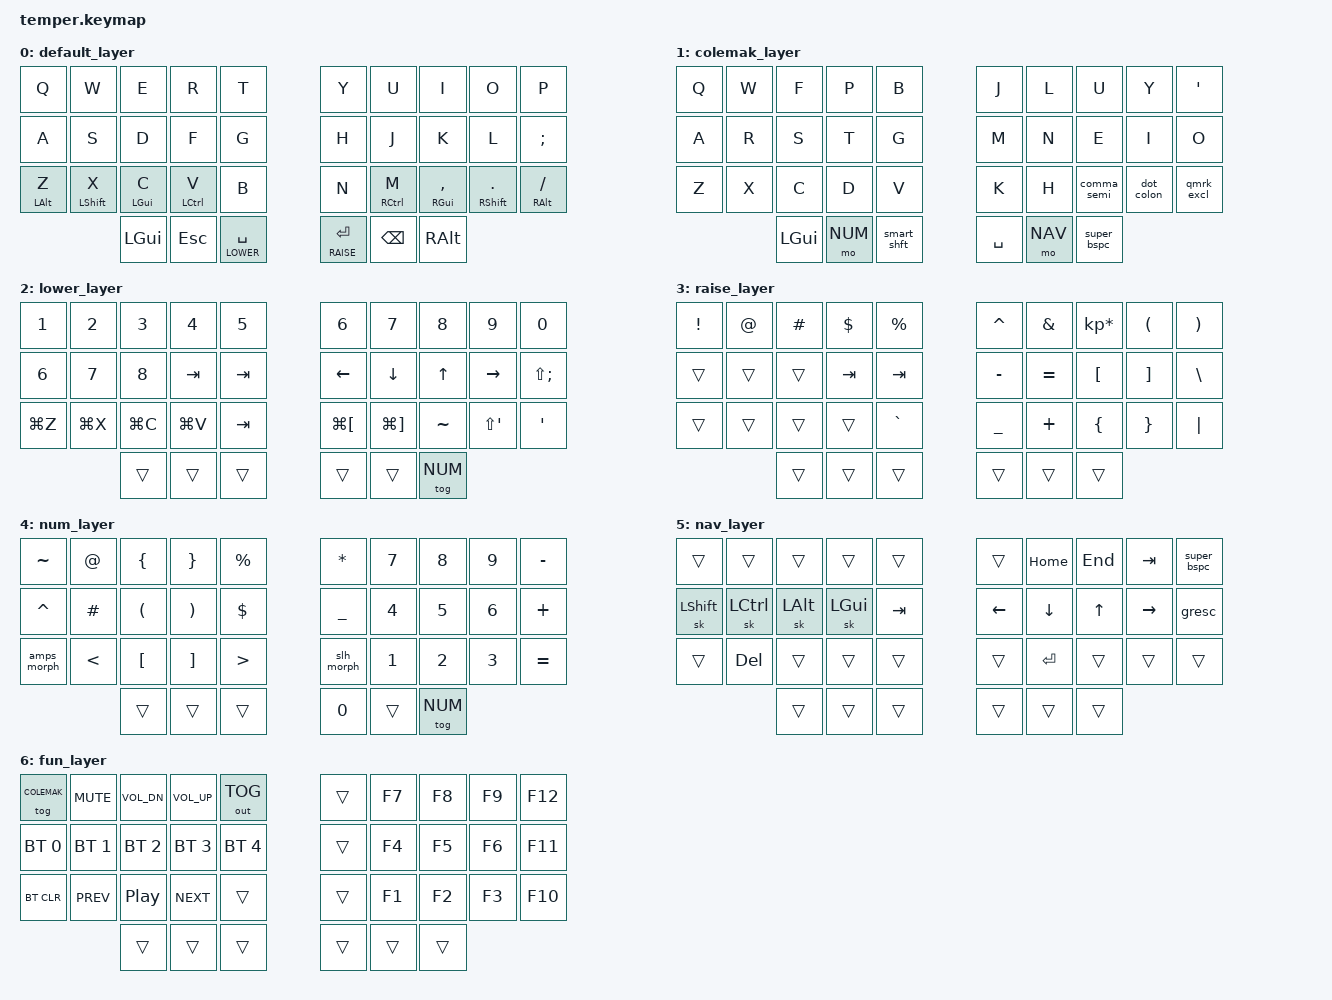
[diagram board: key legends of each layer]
/*
 * Copyright (c) 2020 The ZMK Contributors
 *
 * SPDX-License-Identifier: MIT
 */

#include <behaviors.dtsi>
#include <dt-bindings/zmk/keys.h>
#include <dt-bindings/zmk/bt.h>
#include <dt-bindings/zmk/outputs.h>

#define DEFAULT 0
#define COLEMAK 1
#define LOWER 2
#define RAISE 3
#define NUM 4
#define NAV 5
#define FUN 6

#define NUMS 3
#define ADJUST 4
#define LOCK 5

#define BACK C_AC_BACK
#define FWD C_AC_FORWARD
#define PAUSE PAUSE_BREAK
#define VOL_DN C_VOL_DN
#define VOL_UP C_VOL_UP

#define LC_SPC LC(SPACE)
#define ZM_IN LC(EQUAL)
#define ZM_OUT LC(MINUS)
#define ZM_RST LC(N0)

#define BT0 BT_SEL 0
#define BT1 BT_SEL 1
#define BT2 BT_SEL 2
#define BT3 BT_SEL 3
#define BT4 BT_SEL 4


#define HYP LS(LC(LA(LGUI)))
#define HYPER(key) LS(LC(LA(LG(key))))

// key positions
// --------------------------------------------------------------------------------
//  |  0  |  1  |  2  |  3  |  4  |     |  5  |  6  |  7  |  8  |  9  |
//  |  10 |  11 |  12 |  13 |  14 |     |  15 |  16 |  17 |  18 |  19 |
//  |  20 |  21 |  22 |  23 |  24 |     |  25 |  26 |  27 |  28 |  29 |
//              |  30 |  31 |  32 |     |  33 |  34 |  35 |

#define KEYS_L 0 1 2 3 4 10 11 12 13 14 20 21 22 23 24 // left-hand keys
#define KEYS_R 5 6 7 8 9 15 16 17 18 19 25 26 27 28 29 // right-hand keys
#define THUMBS 30 31 32 33 34 35                       // thumb keys

// &nice_view_spi {
//  cs-gpios = <&pro_micro 0 GPIO_ACTIVE_HIGH>;
// };

&mt {
  retro-tap;
};

&sk {
  //release-after-ms = <2000>;
  quick-release;
  // /delete-property/ ignore-modifiers;
};

&lt {
    quick-tap-ms = <200>;
    //tapping-term-ms = <250>;
};

/ {
  // conditional_layers {
  //   compatible = "zmk,conditional-layers";
  //
  //   tri_layer {
  //     if-layers = <LOWER RAISE>;
  //     then-layer = <ADJUST>;
  //   };
  // };
  conditional_layers {
    compatible = "zmk,conditional-layers";
    tri_layer {
      // if-layers = <NUM NAV>;
      if-layers = <LOWER RAISE>;
      then-layer = <FUN>;
    };
  };
  macros {
    none_blk: none_blk {
      label = "NON_BLOCKING";
      compatible = "zmk,behavior-macro";
      #binding-cells = <0>;
      bindings = <&macro_tap &kp LS(COMMA) &kp EQUAL>;
    };
   cmd_mode: cmd_mode {
      label = "VIM_CMD_MODE";
      compatible = "zmk,behavior-macro";
      #binding-cells = <0>;
      bindings = <&macro_tap &kp ESC &kp LS(SEMI)>;
    };
  };
  combos {
    compatible = "zmk,combos";

    combo_caps {
      timeout-ms = <50>;
      key-positions = <20 29>;
      bindings = <&caps_word>;
    };
    combo_esc { // J+K = ESC
      timeout-ms = <50>;
      key-positions = <16 17>;
      bindings = <&kp ESC>;
    };
    combo_vim_cmd { // L+; = ESC :
      timeout-ms = <50>;
      key-positions = <18 19>;
      bindings = <&cmd_mode>;
    };
  };
  behaviors {
    hml: home_mode_left {
      compatible = "zmk,behavior-hold-tap";
      label = "HML";
      #binding-cells = <2>;
      flavor = "balanced";
      tapping-term-ms = <280>;
      quick-tap-ms = <175>;                 // repeat on tap-into-hold
      require-prior-idle-ms = <150>;
      bindings = <&kp>, <&kp>;
      hold-trigger-key-positions = <KEYS_R THUMBS>;
      hold-trigger-on-release;              // delay positional check until key-release
    };
    hmr: home_mode_right {
      compatible = "zmk,behavior-hold-tap";
      label = "HMR";
      #binding-cells = <2>;
      flavor = "balanced";
      tapping-term-ms = <280>;
      quick-tap-ms = <175>;                 // repeat on tap-into-hold
      require-prior-idle-ms = <150>;
      bindings = <&kp>, <&kp>;
      hold-trigger-key-positions = <KEYS_L THUMBS>;
      hold-trigger-on-release;              // delay positional check until key-release
    };
    bspc_del: backspace_delete {
        compatible = "zmk,behavior-mod-morph";
        #binding-cells = <0>;
        bindings = <&kp BACKSPACE>, <&kp DELETE>;
        mods = <(MOD_LSFT|MOD_RSFT)>;
        keep-mods = <(MOD_RSFT)>;
    };
    super_bspc: super_backspace {
        compatible = "zmk,behavior-mod-morph";
        #binding-cells = <0>;
        bindings = <&kp BACKSPACE>, <&kp LA(BACKSPACE)>;
        mods = <(MOD_LSFT|MOD_RSFT)>;
    };
    smart_shft: smart_shift {
        compatible = "zmk,behavior-mod-morph";
        #binding-cells = <0>;
        bindings = <&kp LSHFT>, <&caps_word>;
        mods = <(MOD_LSFT)>;
    };
    comma_semi: comma_semi {
        compatible = "zmk,behavior-mod-morph";
        #binding-cells = <0>;
        bindings = <&kp COMMA>, <&kp SEMI>;
        mods = <(MOD_LSFT)>;
    };
    dot_colon: dot_colon {
        compatible = "zmk,behavior-mod-morph";
        #binding-cells = <0>;
        bindings = <&kp DOT>, <&kp COLON>;
        mods = <(MOD_LSFT)>;
    };
    qmrk_excl: qmrk_excl {
        compatible = "zmk,behavior-mod-morph";
        #binding-cells = <0>;
        bindings = <&kp QMARK>, <&kp EXCL>;
        mods = <(MOD_LSFT)>;
    };
    slh_morph: slh_morph {
        compatible = "zmk,behavior-mod-morph";
        #binding-cells = <0>;
        bindings = <&kp FSLH>, <&kp BSLH>;
        mods = <(MOD_LSFT)>;
    };
    amps_morph: amps_morph {
        compatible = "zmk,behavior-mod-morph";
        #binding-cells = <0>;
        bindings = <&kp AMPS>, <&kp PIPE>;
        mods = <(MOD_LSFT)>;
    };
  };
        keymap {
                compatible = "zmk,keymap";

                default_layer {
                        bindings = <
// ╭─────────────┬─────────────┬─────────────┬─────────────┬─────────────╮   ╭─────────────┬─────────────┬─────────────┬─────────────┬─────────────╮
        &kp Q         &kp W         &kp E         &kp R         &kp T              &kp Y        &kp U         &kp I         &kp O         &kp P   
// ├─────────────┼─────────────┼─────────────┼─────────────┼─────────────┤   ├─────────────┼─────────────┼─────────────┼─────────────┼─────────────┤
        &kp A         &kp S         &kp D         &kp F         &kp G              &kp H        &kp J         &kp K         &kp L       &kp SEMI
// ├─────────────┼─────────────┼─────────────┼─────────────┼─────────────┤   ├─────────────┼─────────────┼─────────────┼─────────────┼─────────────┤
    &hml LALT Z    &hml LSHFT X  &hml LGUI C   &hml LCTRL V     &kp B              &kp N    &hmr RCTRL M &hmr RGUI COMMA &hmr RSHFT DOT &hmr RALT FSLH
// ╰─────────────┴─────────────┼─────────────┼─────────────┼─────────────┤   ├─────────────┼─────────────┼─────────────┼─────────────┴─────────────╯
                                 &kp LGUI      &kp ESC      &lt LOWER SPACE   &lt RAISE RET  &kp BSPC      &kp RALT
//                             ╰─────────────┴─────────────┴─────────────╯   ╰─────────────┴─────────────┴─────────────╯
                        >;
                };
                colemak_layer {
                        bindings = <
// ╭─────────────┬─────────────┬─────────────┬─────────────┬─────────────╮   ╭─────────────┬─────────────┬─────────────┬─────────────┬─────────────╮
        &kp Q         &kp W         &kp F         &kp P         &kp B             &kp J         &kp L         &kp U         &kp Y       &kp APOS   
// ├─────────────┼─────────────┼─────────────┼─────────────┼─────────────┤   ├─────────────┼─────────────┼─────────────┼─────────────┼─────────────┤
        &kp A         &kp R         &kp S         &kp T         &kp G             &kp M         &kp N         &kp E         &kp I         &kp O
// ├─────────────┼─────────────┼─────────────┼─────────────┼─────────────┤   ├─────────────┼─────────────┼─────────────┼─────────────┼─────────────┤
        &kp Z         &kp X         &kp C         &kp D         &kp V             &kp K         &kp H      &comma_semi    &dot_colon    &qmrk_excl
// ╰─────────────┴─────────────┼─────────────┼─────────────┼─────────────┤   ├─────────────┼─────────────┼─────────────┼─────────────┴─────────────╯
                                   &kp LGUI      &mo NUM     &smart_shft        &kp SPACE      &mo NAV     &super_bspc
//                             ╰─────────────┴─────────────┴─────────────╯   ╰─────────────┴─────────────┴─────────────╯
                        >;
                };
                lower_layer {
                        bindings = <
// ╭─────────────┬─────────────┬─────────────┬─────────────┬─────────────╮   ╭─────────────┬─────────────┬─────────────┬─────────────┬─────────────╮
        &kp N1        &kp N2        &kp N3        &kp N4        &kp N5             &kp N6       &kp N7        &kp N8        &kp N9        &kp N0  
// ├─────────────┼─────────────┼─────────────┼─────────────┼─────────────┤   ├─────────────┼─────────────┼─────────────┼─────────────┼─────────────┤
        &kp N6        &kp N7        &kp N8        &kp TAB       &kp TAB         &kp LEFT      &kp DOWN        &kp UP       &kp RIGHT   &kp LS(SEMI)
// ├─────────────┼─────────────┼─────────────┼─────────────┼─────────────┤   ├─────────────┼─────────────┼─────────────┼─────────────┼─────────────┤
       &kp LG(Z)    &kp LG(X)     &kp LG(C)     &kp LG(V)       &kp TAB       &kp LG(LBKT)  &kp LG(RBKT)     &kp TILDE    &kp LS(SQT)    &kp SQT 
// ╰─────────────┴─────────────┼─────────────┼─────────────┼─────────────┤   ├─────────────┼─────────────┼─────────────┼─────────────┴─────────────╯
                                    &trans        &trans        &trans            &trans        &trans       &tog NUM
//                             ╰─────────────┴─────────────┴─────────────╯   ╰─────────────┴─────────────┴─────────────╯
                        >;
                };

                raise_layer {
                        bindings = <
// ╭─────────────┬─────────────┬─────────────┬─────────────┬─────────────╮   ╭─────────────┬─────────────┬─────────────┬─────────────┬─────────────╮
        &kp EXCL      &kp AT        &kp HASH      &kp DLLR      &kp PRCNT       &kp CARET       &kp AMPS &kp KP_MULTIPLY    &kp LPAR      &kp RPAR
// ├─────────────┼─────────────┼─────────────┼─────────────┼─────────────┤   ├─────────────┼─────────────┼─────────────┼─────────────┼─────────────┤
        &trans        &trans        &trans        &kp TAB       &kp TAB         &kp MINUS       &kp EQUAL     &kp LBKT      &kp RBKT      &kp BSLH   
// ├─────────────┼─────────────┼─────────────┼─────────────┼─────────────┤   ├─────────────┼─────────────┼─────────────┼─────────────┼─────────────┤
        &trans        &trans        &trans        &trans      &kp GRAVE         &kp UNDER       &kp PLUS      &kp LBRC      &kp RBRC      &kp PIPE
// ╰─────────────┴─────────────┼─────────────┼─────────────┼─────────────┤   ├─────────────┼─────────────┼─────────────┼─────────────┴─────────────╯
                                    &trans        &trans        &trans            &trans        &trans        &trans
//                             ╰─────────────┴─────────────┴─────────────╯   ╰─────────────┴─────────────┴─────────────╯
//                             &none_blk &kp GRAVE   &kp TILDE
                        >;
                };
                num_layer {
                        bindings = <
// ╭─────────────┬─────────────┬─────────────┬─────────────┬─────────────╮   ╭─────────────┬─────────────┬─────────────┬─────────────┬─────────────╮
      &kp TILDE       &kp AT       &kp LBRC      &kp RBRC     &kp PRCNT          &kp STAR       &kp N7        &kp N8        &kp N9      &kp MINUS
// ├─────────────┼─────────────┼─────────────┼─────────────┼─────────────┤   ├─────────────┼─────────────┼─────────────┼─────────────┼─────────────┤
      &kp CARET      &kp HASH      &kp LPAR      &kp RPAR      &kp DLLR         &kp UNDER       &kp N4        &kp N5        &kp N6      &kp PLUS
// ├─────────────┼─────────────┼─────────────┼─────────────┼─────────────┤   ├─────────────┼─────────────┼─────────────┼─────────────┼─────────────┤
      &amps_morph     &kp LT       &kp LBKT      &kp RBKT       &kp GT          &slh_morph      &kp N1        &kp N2        &kp N3      &kp EQUAL
// ╰─────────────┴─────────────┼─────────────┼─────────────┼─────────────┤   ├─────────────┼─────────────┼─────────────┼─────────────┴─────────────╯
                                    &trans        &trans        &trans            &kp N0        &trans        &tog NUM
//                             ╰─────────────┴─────────────┴─────────────╯   ╰─────────────┴─────────────┴─────────────╯
                        >;
                };

                nav_layer {
                        bindings = <
// ╭─────────────┬─────────────┬─────────────┬─────────────┬─────────────╮   ╭─────────────┬─────────────┬─────────────┬─────────────┬─────────────╮
        &trans        &trans        &trans        &trans        &trans            &trans       &kp HOME      &kp END       &kp TAB     &super_bspc
// ├─────────────┼─────────────┼─────────────┼─────────────┼─────────────┤   ├─────────────┼─────────────┼─────────────┼─────────────┼─────────────┤
      &sk LSHFT     &sk LCTRL      &sk LALT      &sk LGUI      &kp TAB           &kp LEFT      &kp DOWN       &kp UP      &kp RIGHT       &gresc
// ├─────────────┼─────────────┼─────────────┼─────────────┼─────────────┤   ├─────────────┼─────────────┼─────────────┼─────────────┼─────────────┤
        &trans       &kp DEL        &trans        &trans        &trans            &trans        &kp RET       &trans        &trans        &trans
// ╰─────────────┴─────────────┼─────────────┼─────────────┼─────────────┤   ├─────────────┼─────────────┼─────────────┼─────────────┴─────────────╯
                                    &trans        &trans        &trans            &trans        &trans        &trans
//                             ╰─────────────┴─────────────┴─────────────╯   ╰─────────────┴─────────────┴─────────────╯
                        >;
                };
                fun_layer {
                        bindings = <
// ╭─────────────┬─────────────┬─────────────┬─────────────┬─────────────╮   ╭─────────────┬─────────────┬─────────────┬─────────────┬─────────────╮
     &tog COLEMAK  &kp K_MUTE    &kp C_VOL_DN  &kp C_VOL_UP  &out OUT_TOG        &trans        &kp F7        &kp F8        &kp F9       &kp F12
// ├─────────────┼─────────────┼─────────────┼─────────────┼─────────────┤   ├─────────────┼─────────────┼─────────────┼─────────────┼─────────────┤
     &bt BT_SEL 0  &bt BT_SEL 1  &bt BT_SEL 2  &bt BT_SEL 3  &bt BT_SEL 4         &trans        &kp F4        &kp F5        &kp F6       &kp F11
// ├─────────────┼─────────────┼─────────────┼─────────────┼─────────────┤   ├─────────────┼─────────────┼─────────────┼─────────────┼─────────────┤
      &bt BT_CLR    &kp C_PREV     &kp C_PP     &kp C_NEXT      &trans            &trans        &kp F1        &kp F2        &kp F3       &kp F10
// ╰─────────────┴─────────────┼─────────────┼─────────────┼─────────────┤   ├─────────────┼─────────────┼─────────────┼─────────────┴─────────────╯
                                    &trans        &trans        &trans            &trans        &trans        &trans
//                             ╰─────────────┴─────────────┴─────────────╯   ╰─────────────┴─────────────┴─────────────╯
                        >;
                };
        };
};
